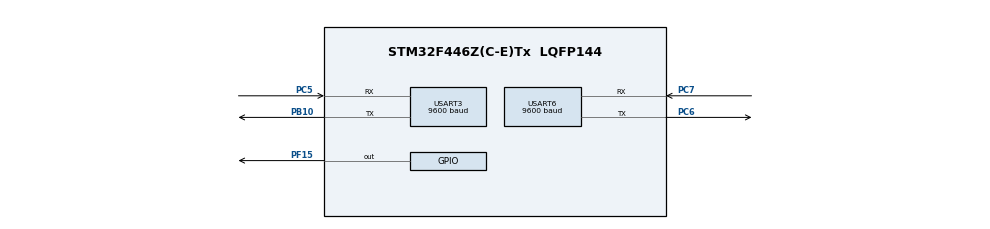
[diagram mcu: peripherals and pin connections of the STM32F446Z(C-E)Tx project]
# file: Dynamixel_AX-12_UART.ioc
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Mcu.Family=STM32F4
Mcu.Name=STM32F446Z(C-E)Tx
Mcu.Package=LQFP144
NVIC.PriorityGroup=NVIC_PRIORITYGROUP_4
NVIC.USART3_IRQn=true\:0\:0\:false\:false\:true
NVIC.USART6_IRQn=true\:0\:0\:false\:false\:true
PB10.Mode=Asynchronous
PB10.Signal=USART3_TX
PC5.Mode=Asynchronous
PC5.Signal=USART3_RX
PC6.Mode=Asynchronous
PC6.Signal=USART6_TX
PC7.Mode=Asynchronous
PC7.Signal=USART6_RX
PF15.Signal=GPIO_Output
ProjectManager.HeapSize=0x200
ProjectManager.StackSize=0x400
ProjectManager.TargetToolchain=SW4STM32
RCC.CortexFreq_Value=16000000
RCC.USBFreq_Value=96000000
RCC.VCOOutputFreq_Value=192000000
USART3.BaudRate=9600
USART3.VirtualMode=VM_ASYNC
USART6.BaudRate=9600
USART6.VirtualMode=VM_ASYNC
board=Dynamixel_AX-12_UART

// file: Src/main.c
/**
  ******************************************************************************
  * File Name          : main.c
  * Description        : Main program body
  ******************************************************************************
  ** This notice applies to any and all portions of this file
  * that are not between comment pairs USER CODE BEGIN and
  * USER CODE END. Other portions of this file, whether
  * inserted by the user or by software development tools
  * are owned by their respective copyright owners.
  *
  * COPYRIGHT(c) 2017 STMicroelectronics
  *
  * Redistribution and use in source and binary forms, with or without modification,
  * are permitted provided that the following conditions are met:
  *   1. Redistributions of source code must retain the above copyright notice,
  *      this list of conditions and the following disclaimer.
  *   2. Redistributions in binary form must reproduce the above copyright notice,
  *      this list of conditions and the following disclaimer in the documentation
  *      and/or other materials provided with the distribution.
  *   3. Neither the name of STMicroelectronics nor the names of its contributors
  *      may be used to endorse or promote products derived from this software
  *      without specific prior written permission.
  *
  * THIS SOFTWARE IS PROVIDED BY THE COPYRIGHT HOLDERS AND CONTRIBUTORS "AS IS"
  * AND ANY EXPRESS OR IMPLIED WARRANTIES, INCLUDING, BUT NOT LIMITED TO, THE
  * IMPLIED WARRANTIES OF MERCHANTABILITY AND FITNESS FOR A PARTICULAR PURPOSE ARE
  * DISCLAIMED. IN NO EVENT SHALL THE COPYRIGHT HOLDER OR CONTRIBUTORS BE LIABLE
  * FOR ANY DIRECT, INDIRECT, INCIDENTAL, SPECIAL, EXEMPLARY, OR CONSEQUENTIAL
  * DAMAGES (INCLUDING, BUT NOT LIMITED TO, PROCUREMENT OF SUBSTITUTE GOODS OR
  * SERVICES; LOSS OF USE, DATA, OR PROFITS; OR BUSINESS INTERRUPTION) HOWEVER
  * CAUSED AND ON ANY THEORY OF LIABILITY, WHETHER IN CONTRACT, STRICT LIABILITY,
  * OR TORT (INCLUDING NEGLIGENCE OR OTHERWISE) ARISING IN ANY WAY OUT OF THE USE
  * OF THIS SOFTWARE, EVEN IF ADVISED OF THE POSSIBILITY OF SUCH DAMAGE.
  *
  ******************************************************************************
  */
#include "main.h"
#include "stm32f4xx_hal.h"

UART_HandleTypeDef huart3;
UART_HandleTypeDef huart6;

/* USER CODE BEGIN PV */
/* Private variables ---------------------------------------------------------*/
uint8_t buffrec[7];
uint8_t Dynamixel_Requisites[5] = {0xff, 0xff, 0xfe, 0x05, 0x03};
/* USER CODE END PV */

void SystemClock_Config(void);
static void MX_GPIO_Init(void);
static void MX_USART6_UART_Init(void);
static void MX_USART3_UART_Init(void);

/* USER CODE BEGIN PFP */
/* Private function prototypes -----------------------------------------------*/
static void Dynamixel_Move(double angle);
/* USER CODE END PFP */

int main(void)
{

  /* MCU Configuration----------------------------------------------------------*/

  /* Reset of all peripherals, Initializes the Flash interface and the Systick. */
  HAL_Init();

  /* Configure the system clock */
  SystemClock_Config();

  /* Initialize all configured peripherals */
  MX_GPIO_Init();
  MX_USART6_UART_Init();
  MX_USART3_UART_Init();

  /* USER CODE BEGIN 2 */
  __HAL_RCC_GPIOF_CLK_ENABLE();

  GPIO_InitTypeDef Data_Control;

  Data_Control.Pin = GPIO_PIN_15;
  Data_Control.Mode = GPIO_MODE_OUTPUT_PP;
  Data_Control.Speed = GPIO_SPEED_FREQ_LOW;
  Data_Control.Pull = GPIO_NOPULL;

  HAL_GPIO_Init(GPIOF, &Data_Control);

  __HAL_UART_ENABLE_IT(&huart6,UART_IT_RXNE); // UART receive interrupt
  //__HAL_UART_ENABLE_IT(&huart3,UART_IT_TC); // UART transmit interrupt
  /* USER CODE END 2 */

  /* Infinite loop */
  while (1)
  {

  /* USER CODE BEGIN 3 */
	  HAL_GPIO_WritePin(GPIOF, GPIO_PIN_15, 1); // TX
	  HAL_UART_Transmit(&huart6, Dynamixel_Requisites, 5, 100);
	  Dynamixel_Move(0);
	  HAL_Delay(400); // Tx delay

	  HAL_GPIO_WritePin(GPIOF, GPIO_PIN_15, 0); // Switch to RX
	  HAL_UART_Receive(&huart6, buffrec, 7, 100); // Receive 7 bytes...

	  HAL_GPIO_WritePin(GPIOF, GPIO_PIN_15, 1); // Switch to TX
	  HAL_UART_Transmit(&huart6, Dynamixel_Requisites, 5, 100);
	  Dynamixel_Move(300);
	  HAL_Delay(400); // Tx delay

	  HAL_GPIO_WritePin(GPIOF, GPIO_PIN_15, 0); // Switch to RX
	  HAL_UART_Receive(&huart6, buffrec, 7, 100); // Receive 7 bytes...
  /* USER CODE END 3 */
  }
}

/** System Clock Configuration
*/
void SystemClock_Config(void)
{

  RCC_OscInitTypeDef RCC_OscInitStruct;
  RCC_ClkInitTypeDef RCC_ClkInitStruct;

    /**Configure the main internal regulator output voltage
    */
  __HAL_RCC_PWR_CLK_ENABLE();

  __HAL_PWR_VOLTAGESCALING_CONFIG(PWR_REGULATOR_VOLTAGE_SCALE3);

    /**Initializes the CPU, AHB and APB busses clocks
    */
  RCC_OscInitStruct.OscillatorType = RCC_OSCILLATORTYPE_HSI;
  RCC_OscInitStruct.HSIState = RCC_HSI_ON;
  RCC_OscInitStruct.HSICalibrationValue = 16;
  RCC_OscInitStruct.PLL.PLLState = RCC_PLL_NONE;
  if (HAL_RCC_OscConfig(&RCC_OscInitStruct) != HAL_OK)
  {
    _Error_Handler(__FILE__, __LINE__);
  }

    /**Initializes the CPU, AHB and APB busses clocks
    */
  RCC_ClkInitStruct.ClockType = RCC_CLOCKTYPE_HCLK|RCC_CLOCKTYPE_SYSCLK
                              |RCC_CLOCKTYPE_PCLK1|RCC_CLOCKTYPE_PCLK2;
  RCC_ClkInitStruct.SYSCLKSource = RCC_SYSCLKSOURCE_HSI;
  RCC_ClkInitStruct.AHBCLKDivider = RCC_SYSCLK_DIV1;
  RCC_ClkInitStruct.APB1CLKDivider = RCC_HCLK_DIV1;
  RCC_ClkInitStruct.APB2CLKDivider = RCC_HCLK_DIV1;

  if (HAL_RCC_ClockConfig(&RCC_ClkInitStruct, FLASH_LATENCY_0) != HAL_OK)
  {
    _Error_Handler(__FILE__, __LINE__);
  }

    /**Configure the Systick interrupt time
    */
  HAL_SYSTICK_Config(HAL_RCC_GetHCLKFreq()/1000);

    /**Configure the Systick
    */
  HAL_SYSTICK_CLKSourceConfig(SYSTICK_CLKSOURCE_HCLK);

  /* SysTick_IRQn interrupt configuration */
  HAL_NVIC_SetPriority(SysTick_IRQn, 0, 0);
}

/* USART3 init function */
static void MX_USART3_UART_Init(void)
{

  huart3.Instance = USART3;
  huart3.Init.BaudRate = 9600;
  huart3.Init.WordLength = UART_WORDLENGTH_8B;
  huart3.Init.StopBits = UART_STOPBITS_1;
  huart3.Init.Parity = UART_PARITY_NONE;
  huart3.Init.Mode = UART_MODE_TX_RX;
  huart3.Init.HwFlowCtl = UART_HWCONTROL_NONE;
  huart3.Init.OverSampling = UART_OVERSAMPLING_16;
  if (HAL_UART_Init(&huart3) != HAL_OK)
  {
    _Error_Handler(__FILE__, __LINE__);
  }

}

/* USART6 init function */
static void MX_USART6_UART_Init(void)
{

  huart6.Instance = USART6;
  huart6.Init.BaudRate = 9600;
  huart6.Init.WordLength = UART_WORDLENGTH_8B;
  huart6.Init.StopBits = UART_STOPBITS_1;
  huart6.Init.Parity = UART_PARITY_NONE;
  huart6.Init.Mode = UART_MODE_TX_RX;
  huart6.Init.HwFlowCtl = UART_HWCONTROL_NONE;
  huart6.Init.OverSampling = UART_OVERSAMPLING_16;
  if (HAL_UART_Init(&huart6) != HAL_OK)
  {
    _Error_Handler(__FILE__, __LINE__);
  }

}

/** Configure pins as
        * Analog
        * Input
        * Output
        * EVENT_OUT
        * EXTI
*/
static void MX_GPIO_Init(void)
{

  GPIO_InitTypeDef GPIO_InitStruct;

  /* GPIO Ports Clock Enable */
  __HAL_RCC_GPIOC_CLK_ENABLE();
  __HAL_RCC_GPIOF_CLK_ENABLE();
  __HAL_RCC_GPIOB_CLK_ENABLE();

  /*Configure GPIO pin Output Level */
  HAL_GPIO_WritePin(GPIOF, GPIO_PIN_15, GPIO_PIN_RESET);

  /*Configure GPIO pin : PF15 */
  GPIO_InitStruct.Pin = GPIO_PIN_15;
  GPIO_InitStruct.Mode = GPIO_MODE_OUTPUT_PP;
  GPIO_InitStruct.Pull = GPIO_NOPULL;
  GPIO_InitStruct.Speed = GPIO_SPEED_FREQ_LOW;
  HAL_GPIO_Init(GPIOF, &GPIO_InitStruct);

}

/* USER CODE BEGIN 4 */
static void Dynamixel_Move(double angle)
{
	/* Takes a double between 0 and 300, encodes this position in an
	 * upper and low hex byte pair (with a maximum of 1023 as defined in the AX-12
	 * user manual), and sends this information (along with requisites) over UART
	 */

	uint8_t reg_Goal_Position[1] = {0x1e}; // Address of goal position
	uint8_t reg_Angle_Low_Byte[1]; // Low byte of goal position // Test case 1: 0xfe | Test case 2: 0xfd
	uint8_t reg_Angle_High_Byte[1]; // High byte of goal position // Test case 1: 0x00 | Test case 2: 0x01
	uint8_t Checksum[1]; // check sum = 255 - (sum % 256)

	// Do computations
	int normalized_value = (int)(angle / 300 * 1023); // maximum angle of 1023
	reg_Angle_Low_Byte[0] = normalized_value & 0xFF;
	reg_Angle_High_Byte[0] = (normalized_value >> 8) & 0xFF;

	Checksum[0] = 255 - ((Dynamixel_Requisites[2]
						+ Dynamixel_Requisites[3]
						+ Dynamixel_Requisites[4]
						+ reg_Goal_Position[0]
						+ reg_Angle_Low_Byte[0]
						+ reg_Angle_High_Byte[0]
						) %  256);

	// Transmit
	HAL_UART_Transmit(&huart6, reg_Goal_Position, 1, 100);
	HAL_UART_Transmit(&huart6, reg_Angle_Low_Byte, 1, 100);
	HAL_UART_Transmit(&huart6, reg_Angle_High_Byte, 1, 100);
	HAL_UART_Transmit(&huart6, Checksum, 1, 100);
}
/* USER CODE END 4 */

void _Error_Handler(char * file, int line)
{
  while(1)
  {
  }
}

/************************ (C) COPYRIGHT STMicroelectronics *****END OF FILE****/
